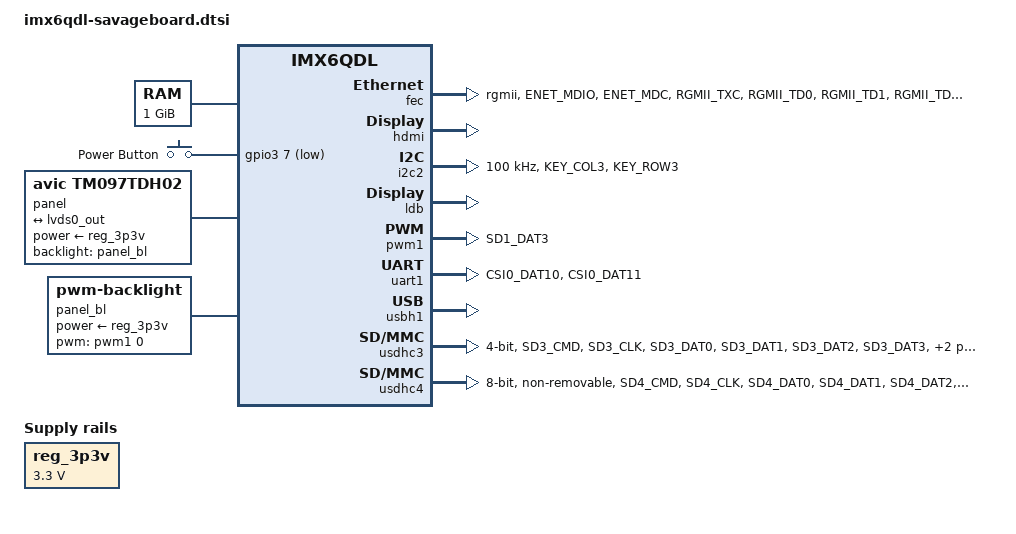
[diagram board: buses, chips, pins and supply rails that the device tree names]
/*
 * Copyright (C) 2017 Milo Kim <woogyom.kim@gmail.com>
 *
 * This file is dual-licensed: you can use it either under the terms
 * of the GPL or the X11 license, at your option. Note that this dual
 * licensing only applies to this file, and not this project as a
 * whole.
 *
 *  a) This file is free software; you can redistribute it and/or
 *     modify it under the terms of the GNU General Public License as
 *     published by the Free Software Foundation; either version 2 of the
 *     License, or (at your option) any later version.
 *
 *     This file is distributed in the hope that it will be useful,
 *     but WITHOUT ANY WARRANTY; without even the implied warranty of
 *     MERCHANTABILITY or FITNESS FOR A PARTICULAR PURPOSE.  See the
 *     GNU General Public License for more details.
 *
 * Or, alternatively,
 *
 *  b) Permission is hereby granted, free of charge, to any person
 *     obtaining a copy of this software and associated documentation
 *     files (the "Software"), to deal in the Software without
 *     restriction, including without limitation the rights to use,
 *     copy, modify, merge, publish, distribute, sublicense, and/or
 *     sell copies of the Software, and to permit persons to whom the
 *     Software is furnished to do so, subject to the following
 *     conditions:
 *
 *     The above copyright notice and this permission notice shall be
 *     included in all copies or substantial portions of the Software.
 *
 *     THE SOFTWARE IS PROVIDED "AS IS", WITHOUT WARRANTY OF ANY KIND,
 *     EXPRESS OR IMPLIED, INCLUDING BUT NOT LIMITED TO THE WARRANTIES
 *     OF MERCHANTABILITY, FITNESS FOR A PARTICULAR PURPOSE AND
 *     NONINFRINGEMENT. IN NO EVENT SHALL THE AUTHORS OR COPYRIGHT
 *     HOLDERS BE LIABLE FOR ANY CLAIM, DAMAGES OR OTHER LIABILITY,
 *     WHETHER IN AN ACTION OF CONTRACT, TORT OR OTHERWISE, ARISING
 *     FROM, OUT OF OR IN CONNECTION WITH THE SOFTWARE OR THE USE OR
 *     OTHER DEALINGS IN THE SOFTWARE.
 */

#include <dt-bindings/gpio/gpio.h>
#include <dt-bindings/input/input.h>

/ {
	chosen {
		stdout-path = &uart1;
	};

	memory@10000000 {
		device_type = "memory";
		reg = <0x10000000 0x40000000>;
	};

	gpio-keys {
		compatible = "gpio-keys";
		pinctrl-names = "default";
		pinctrl-0 = <&pinctrl_gpio_keys>;

		power {
			gpios = <&gpio3 7 GPIO_ACTIVE_LOW>;
			label = "Power Button";
			linux,code = <KEY_POWER>;
			wakeup-source;
		};
	};

	panel {
		compatible = "avic,tm097tdh02", "hannstar,hsd100pxn1";
		backlight = <&panel_bl>;
		power-supply = <&reg_3p3v>;

		port {
			panel_in: endpoint {
				remote-endpoint = <&lvds0_out>;
			};
		};
	};

	panel_bl: backlight {
		compatible = "pwm-backlight";
		brightness-levels = <0 4 8 16 32 64 128 255>;
		default-brightness-level = <4>;
		power-supply = <&reg_3p3v>;
		pwms = <&pwm1 0 10000>;
	};

	reg_3p3v: regulator-3p3v {
		compatible = "regulator-fixed";
		regulator-name = "3P3V";
		regulator-min-microvolt = <3300000>;
		regulator-max-microvolt = <3300000>;
		regulator-always-on;
	};
};

&clks {
	assigned-clocks = <&clks IMX6QDL_CLK_LDB_DI0_SEL>,
			  <&clks IMX6QDL_CLK_LDB_DI1_SEL>;
	assigned-clock-parents = <&clks IMX6QDL_CLK_PLL3_USB_OTG>,
				 <&clks IMX6QDL_CLK_PLL3_USB_OTG>;
};

&fec {
	phy-mode = "rgmii";
	phy-reset-gpios = <&gpio1 25 GPIO_ACTIVE_LOW>;
	pinctrl-names = "default";
	pinctrl-0 = <&pinctrl_enet>;
	status = "okay";
};

&hdmi {
	ddc-i2c-bus = <&i2c2>;
	status = "okay";
};

&i2c2 {
	clock-frequency = <100000>;
	pinctrl-names = "default";
	pinctrl-0 = <&pinctrl_i2c2>;
	status = "okay";
};

&ldb {
	status = "okay";

	lvds-channel@0 {
		reg = <0>;
		status = "okay";

		port@4 {
			reg = <4>;

			lvds0_out: endpoint {
				remote-endpoint = <&panel_in>;
			};
		};
	};
};

&pwm1 {
	pinctrl-names = "default";
	pinctrl-0 = <&pinctrl_pwm1>;
	status = "okay";
};

&uart1 {
	pinctrl-names = "default";
	pinctrl-0 = <&pinctrl_uart1>;
	status = "okay";
};

&usbh1 {
	status = "okay";
};

/* SD card */
&usdhc3 {
	bus-width = <4>;
	cd-gpios = <&gpio2 0 GPIO_ACTIVE_LOW>;
	no-1-8-v;
	pinctrl-names = "default";
	pinctrl-0 = <&pinctrl_sd>;
	status = "okay";
};

/* eMMC */
&usdhc4 {
	bus-width = <8>;
	keep-power-in-suspend;
	no-1-8-v;
	non-removable;
	pinctrl-names = "default";
	pinctrl-0 = <&pinctrl_emmc>;
	status = "okay";
};

&iomuxc {
	pinctrl_emmc: emmcgrp {
		fsl,pins = <
			MX6QDL_PAD_SD4_CMD__SD4_CMD		0x17059
			MX6QDL_PAD_SD4_CLK__SD4_CLK		0x10059
			MX6QDL_PAD_SD4_DAT0__SD4_DATA0		0x17059
			MX6QDL_PAD_SD4_DAT1__SD4_DATA1		0x17059
			MX6QDL_PAD_SD4_DAT2__SD4_DATA2		0x17059
			MX6QDL_PAD_SD4_DAT3__SD4_DATA3		0x17059
			MX6QDL_PAD_SD4_DAT4__SD4_DATA4		0x17059
			MX6QDL_PAD_SD4_DAT5__SD4_DATA5		0x17059
			MX6QDL_PAD_SD4_DAT6__SD4_DATA6		0x17059
			MX6QDL_PAD_SD4_DAT7__SD4_DATA7		0x17059
		>;
	};

	pinctrl_enet: enetgrp {
		fsl,pins = <
			MX6QDL_PAD_ENET_MDIO__ENET_MDIO		0x1b0b0
			MX6QDL_PAD_ENET_MDC__ENET_MDC		0x1b0b0
			MX6QDL_PAD_RGMII_TXC__RGMII_TXC		0x1b030
			MX6QDL_PAD_RGMII_TD0__RGMII_TD0		0x1b030
			MX6QDL_PAD_RGMII_TD1__RGMII_TD1		0x1b030
			MX6QDL_PAD_RGMII_TD2__RGMII_TD2		0x1b030
			MX6QDL_PAD_RGMII_TD3__RGMII_TD3		0x1b030
			MX6QDL_PAD_RGMII_TX_CTL__RGMII_TX_CTL	0x1b030
			MX6QDL_PAD_ENET_REF_CLK__ENET_TX_CLK	0x1b0b0
			MX6QDL_PAD_RGMII_RXC__RGMII_RXC		0x1b030
			MX6QDL_PAD_RGMII_RD0__RGMII_RD0		0x1b030
			MX6QDL_PAD_RGMII_RD1__RGMII_RD1		0x1b030
			MX6QDL_PAD_RGMII_RD2__RGMII_RD2		0x1b030
			MX6QDL_PAD_RGMII_RD3__RGMII_RD3		0x1b030
			MX6QDL_PAD_RGMII_RX_CTL__RGMII_RX_CTL	0x1b030
			/* PHY reset */
			MX6QDL_PAD_ENET_CRS_DV__GPIO1_IO25	0x1b0b0
		>;
	};

	pinctrl_gpio_keys: gpiokeysgrp {
		fsl,pins = <
			MX6QDL_PAD_EIM_DA7__GPIO3_IO07		0x1b0b1
		>;
	};

	pinctrl_i2c2: i2c2grp {
		fsl,pins = <
			MX6QDL_PAD_KEY_COL3__I2C2_SCL		0x4001b8b1
			MX6QDL_PAD_KEY_ROW3__I2C2_SDA		0x4001b8b1
		>;
	};

	pinctrl_pwm1: pwm1grp {
		fsl,pins = <
			MX6QDL_PAD_SD1_DAT3__PWM1_OUT		0x1b0b1
		>;
	};

	pinctrl_sd: sdgrp {
		fsl,pins = <
			MX6QDL_PAD_SD3_CMD__SD3_CMD		0x17059
			MX6QDL_PAD_SD3_CLK__SD3_CLK		0x10059
			MX6QDL_PAD_SD3_DAT0__SD3_DATA0		0x17059
			MX6QDL_PAD_SD3_DAT1__SD3_DATA1		0x17059
			MX6QDL_PAD_SD3_DAT2__SD3_DATA2		0x17059
			MX6QDL_PAD_SD3_DAT3__SD3_DATA3		0x17059
			/* CD pin */
			MX6QDL_PAD_NANDF_D0__GPIO2_IO00		0x1b0b1
		>;
	};

	pinctrl_uart1: uart1grp {
		fsl,pins = <
			MX6QDL_PAD_CSI0_DAT10__UART1_TX_DATA	0x1b0b1
			MX6QDL_PAD_CSI0_DAT11__UART1_RX_DATA	0x1b0b1
		>;
	};
};
